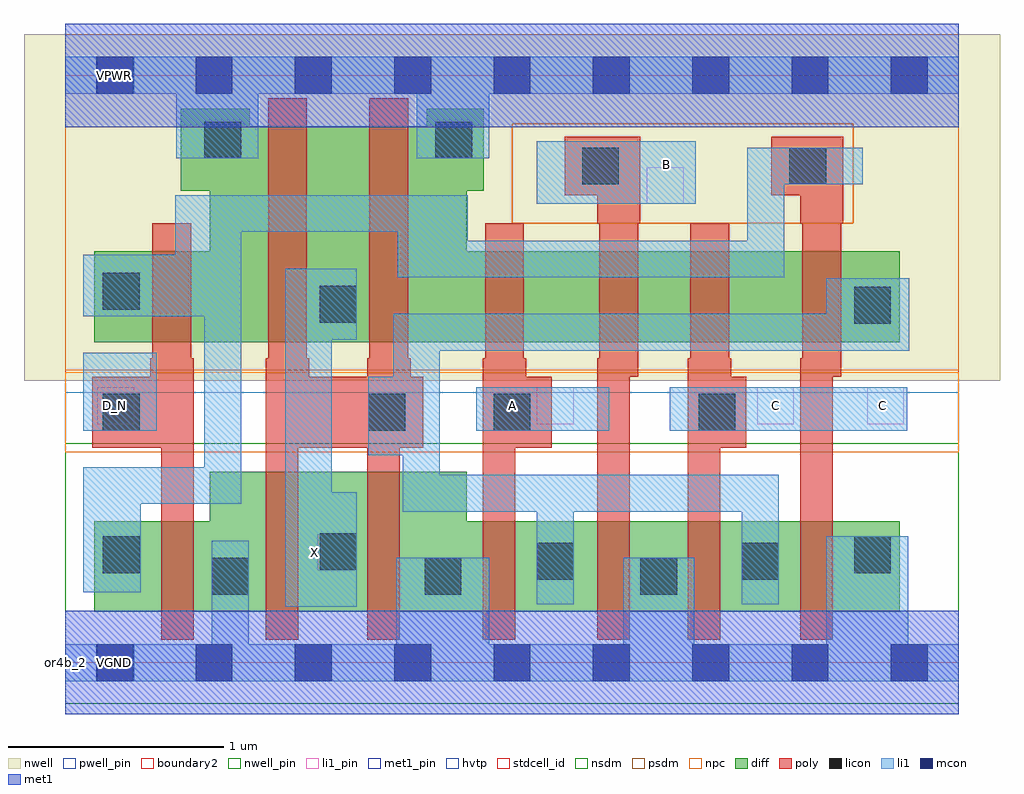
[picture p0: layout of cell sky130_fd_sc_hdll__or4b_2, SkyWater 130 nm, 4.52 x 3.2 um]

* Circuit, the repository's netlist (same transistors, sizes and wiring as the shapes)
* Copyright 2020 The SkyWater PDK Authors
*
* Licensed under the Apache License, Version 2.0 (the "License");
* you may not use this file except in compliance with the License.
* You may obtain a copy of the License at
*
*     https://www.apache.org/licenses/LICENSE-2.0
*
* Unless required by applicable law or agreed to in writing, software
* distributed under the License is distributed on an "AS IS" BASIS,
* WITHOUT WARRANTIES OR CONDITIONS OF ANY KIND, either express or implied.
* See the License for the specific language governing permissions and
* limitations under the License.
*
* SPDX-License-Identifier: Apache-2.0

.SUBCKT sky130_fd_sc_hdll__or4b_2 A B C D_N VGND VNB VPB VPWR X
*.PININFO A:I B:I C:I D_N:I VGND:I VNB:I VPB:I VPWR:I X:O
MMP0 VPWR A sndPA VPB sky130_fd_pr__pfet_01v8_hvt m=1 w=0.42U l=0.18U mult=1 sa=0.265
+ sb=0.265 sd=0.28 area=0.063 perim=1.14
MMP1 sndPA B sndPB VPB sky130_fd_pr__pfet_01v8_hvt m=1 w=0.42U l=0.18U mult=1 sa=0.265
+ sb=0.265 sd=0.28 area=0.063 perim=1.14
MMP2 sndPB C sndPC VPB sky130_fd_pr__pfet_01v8_hvt m=1 w=0.42U l=0.18U mult=1 sa=0.265
+ sb=0.265 sd=0.28 area=0.063 perim=1.14
MMP3 sndPC D y VPB sky130_fd_pr__pfet_01v8_hvt m=1 w=0.42U l=0.18U mult=1 sa=0.265
+ sb=0.265 sd=0.28 area=0.063 perim=1.14
MMIP3 D D_N VPWR VPB sky130_fd_pr__pfet_01v8_hvt m=1 w=0.42U l=0.18U mult=1 sa=0.265
+ sb=0.265 sd=0.28 area=0.063 perim=1.14
MMIP4 X y VPWR VPB sky130_fd_pr__pfet_01v8_hvt m=2 w=1.0U l=0.18U mult=1 sa=0.265
+ sb=0.265 sd=0.28 area=0.063 perim=1.14
MMN0 y A VGND VNB sky130_fd_pr__nfet_01v8 m=1 w=0.42U l=0.15U mult=1 sa=0.265 sb=0.265
+ sd=0.28 area=0.063 perim=1.14
MMN1 y B VGND VNB sky130_fd_pr__nfet_01v8 m=1 w=0.42U l=0.15U mult=1 sa=0.265 sb=0.265
+ sd=0.28 area=0.063 perim=1.14
MMN2 y C VGND VNB sky130_fd_pr__nfet_01v8 m=1 w=0.42U l=0.15U mult=1 sa=0.265 sb=0.265
+ sd=0.28 area=0.063 perim=1.14
MMN3 y D VGND VNB sky130_fd_pr__nfet_01v8 m=1 w=0.42U l=0.15U mult=1 sa=0.265 sb=0.265
+ sd=0.28 area=0.063 perim=1.14
MMIN3 D D_N VGND VNB sky130_fd_pr__nfet_01v8 m=1 w=0.42U l=0.15U mult=1 sa=0.265
+ sb=0.265 sd=0.28 area=0.063 perim=1.14
MMIN4 X y VGND VNB sky130_fd_pr__nfet_01v8 m=2 w=0.65U l=0.15U mult=1 sa=0.265
+ sb=0.265 sd=0.28 area=0.063 perim=1.14
.ENDS sky130_fd_sc_hdll__or4b_2

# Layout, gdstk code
import gdstk
lib = gdstk.Library(unit=1e-6, precision=1e-09)
def R(c, l, rs):  # rectangles x0, y0, x1, y1
    for r in rs: c.add(gdstk.rectangle(r[:2], r[2:], *l))
def A(c, l, x, y, w, h, nx, ny, dx, dy):  # array of equal rectangles
    R(c, l, [(x+i*dx, y+j*dy, x+i*dx+w, y+j*dy+h) for i in range(nx) for j in range(ny)])
def P(c, l, *ps):  # polygons
    for p in ps: c.add(gdstk.Polygon(p, *l))
nwell_pin = (64, 16)
nwell = (64, 20)
diff = (65, 20)
poly = (66, 20)
licon = (66, 44)
li1_pin = (67, 16)
li1 = (67, 20)
mcon = (67, 44)
met1_pin = (68, 16)
met1 = (68, 20)
hvtp = (78, 44)
stdcell_id = (81, 4)
nsdm = (93, 44)
psdm = (94, 20)
npc = (95, 20)
pwell_pin = (122, 16)
boundary2 = (236, 0)

sky130_fd_sc_hdll__or4b_ = lib.new_cell('sky130_fd_sc_hdll__or4b_2')
R(sky130_fd_sc_hdll__or4b_, nwell_pin, [(0.15,2.635,0.32,2.805)])
R(sky130_fd_sc_hdll__or4b_, nwell, [(-0.19,1.305,4.33,2.91)])
P(sky130_fd_sc_hdll__or4b_, diff, [(3.865,0.655),(1.86,0.655),(1.86,0.885),(0.67,0.885),(0.67,0.655),(0.135,0.655),(0.135,0.235),(3.865,0.235)],
  [(3.865,1.905),(1.86,1.905),(1.86,2.185),(1.94,2.185),(1.94,2.565),(1.675,2.565),(1.675,2.485),(0.855,2.485),(0.855,2.565),(0.535,2.565),(0.535,2.185),(0.67,2.185),(0.67,1.905),(0.135,1.905),(0.135,1.485),(3.865,1.485)])
P(sky130_fd_sc_hdll__or4b_, poly, [(0.595,1.41),(0.585,1.41),(0.585,2.035),(0.405,2.035),(0.405,1.41),(0.395,1.41),(0.395,1.325),(0.125,1.325),(0.125,0.995),(0.445,0.995),(0.445,0.105),(0.595,0.105)],
  [(1.66,1.325),(1.6,1.325),(1.6,1.41),(1.59,1.41),(1.59,2.615),(1.41,2.615),(1.41,1.41),(1.4,1.41),(1.4,1.325),(1.13,1.325),(1.13,1.41),(1.12,1.41),(1.12,2.615),(0.94,2.615),(0.94,1.41),(0.93,1.41),(0.93,0.105),(1.08,0.105),(1.08,0.995),(1.4,0.995),(1.4,0.105),(1.55,0.105),(1.55,0.995),(1.66,0.995)],
  [(2.255,1.325),(2.135,1.325),(2.135,1.41),(2.125,1.41),(2.125,2.035),(1.945,2.035),(1.945,1.41),(1.935,1.41),(1.935,0.105),(2.085,0.105),(2.085,0.995),(2.255,0.995)],
  [(2.665,2.435),(2.315,2.435),(2.315,2.165),(2.465,2.165),(2.465,2.035),(2.475,2.035),(2.475,1.41),(2.465,1.41),(2.465,0.105),(2.615,0.105),(2.615,1.325),(2.655,1.325),(2.655,2.035),(2.665,2.035)],
  [(3.155,1.325),(3.085,1.325),(3.085,1.41),(3.075,1.41),(3.075,2.035),(2.895,2.035),(2.895,1.41),(2.885,1.41),(2.885,0.105),(3.035,0.105),(3.035,0.995),(3.155,0.995)],
  [(3.605,2.435),(3.27,2.435),(3.27,2.165),(3.405,2.165),(3.405,2.035),(3.415,2.035),(3.415,1.41),(3.405,1.41),(3.405,0.105),(3.555,0.105),(3.555,1.325),(3.595,1.325),(3.595,2.035),(3.605,2.035)])
R(sky130_fd_sc_hdll__or4b_, licon, [(0.68,0.315,0.85,0.485), (1.665,0.315,1.835,0.485), (2.665,0.315,2.835,0.485), (2.185,0.385,2.355,0.555), (3.135,0.385,3.305,0.555), (0.175,0.415,0.345,0.585), (3.655,0.415,3.825,0.585), (1.18,0.43,1.35,0.6), (0.175,1.075,0.345,1.245), (1.405,1.075,1.575,1.245), (1.985,1.075,2.155,1.245), (2.935,1.075,3.105,1.245), (3.655,1.57,3.825,1.74), (1.18,1.575,1.35,1.745), (0.175,1.635,0.345,1.805), (2.395,2.215,2.565,2.385), (3.355,2.215,3.525,2.385), (0.645,2.335,0.815,2.505), (1.715,2.335,1.885,2.505)])
R(sky130_fd_sc_hdll__or4b_, li1_pin, [(1.17,0.425,1.34,0.595), (0.15,1.105,0.32,1.275), (2.185,1.105,2.355,1.275), (3.205,1.105,3.375,1.275), (3.715,1.105,3.885,1.275), (2.695,2.125,2.865,2.295)])
R(sky130_fd_sc_hdll__or4b_, li1, [(0.085,1.075,0.425,1.435), (1.905,1.075,2.52,1.275), (2.8,1.075,3.9,1.275), (2.185,2.125,2.92,2.415)])
P(sky130_fd_sc_hdll__or4b_, li1, [(3.91,1.78),(3.525,1.78),(3.525,1.615),(1.52,1.615),(1.52,1.325),(1.405,1.325),(1.405,0.96),(1.565,0.96),(1.565,0.7),(2.185,0.7),(2.185,0.27),(2.355,0.27),(2.355,0.7),(3.135,0.7),(3.135,0.27),(3.305,0.27),(3.305,0.87),(1.735,0.87),(1.735,1.445),(3.91,1.445)],
  [(4.14,0.085),(3.905,0.085),(3.905,0.585),(3.525,0.585),(3.525,0.085),(2.915,0.085),(2.915,0.485),(2.585,0.485),(2.585,0.085),(1.965,0.085),(1.965,0.485),(1.535,0.485),(1.535,0.085),(0.85,0.085),(0.85,0.565),(0.68,0.565),(0.68,0.085),(0,0.085),(0,-0.085),(4.14,-0.085)],
  [(4.14,2.805),(0,2.805),(0,2.635),(0.515,2.635),(0.515,2.335),(0.895,2.335),(0.895,2.635),(1.63,2.635),(1.63,2.335),(1.965,2.335),(1.965,2.635),(4.14,2.635)],
  [(3.695,2.385),(3.16,2.385),(3.16,1.955),(1.865,1.955),(1.865,2.165),(0.51,2.165),(0.51,1.89),(0.085,1.89),(0.085,1.605),(0.645,1.605),(0.645,0.905),(0.085,0.905),(0.085,0.325),(0.35,0.325),(0.35,0.735),(0.815,0.735),(0.815,1.995),(1.54,1.995),(1.54,1.785),(3.33,1.785),(3.33,2.215),(3.695,2.215)],
  [(1.35,0.79),(1.235,0.79),(1.235,1.495),(1.35,1.495),(1.35,1.825),(1.02,1.825),(1.02,0.26),(1.35,0.26)])
A(sky130_fd_sc_hdll__or4b_, mcon, 0.145, -0.085, 0.17, 0.17, 9, 2, 0.46, 2.72)
R(sky130_fd_sc_hdll__or4b_, met1_pin, [(0.15,-0.085,0.32,0.085), (0.15,2.635,0.32,2.805)])
R(sky130_fd_sc_hdll__or4b_, met1, [(0,-0.24,4.14,0.24), (0,2.48,4.14,2.96)])
R(sky130_fd_sc_hdll__or4b_, hvtp, [(0,1.25,4.14,2.72)])
R(sky130_fd_sc_hdll__or4b_, stdcell_id, [(0,0,4.14,2.72)])
R(sky130_fd_sc_hdll__or4b_, nsdm, [(0,-0.19,4.14,1.015)])
P(sky130_fd_sc_hdll__or4b_, psdm, [(4.14,2.91),(3.65,2.91),(3.65,2.035),(2.07,2.035),(2.07,2.495),(3.65,2.495),(3.65,2.91),(0,2.91),(0,1.355),(4.14,1.355)])
R(sky130_fd_sc_hdll__or4b_, npc, [(0,0.975,4.14,1.345), (2.07,2.035,3.65,2.495)])
R(sky130_fd_sc_hdll__or4b_, pwell_pin, [(0.15,-0.085,0.32,0.085)])
R(sky130_fd_sc_hdll__or4b_, boundary2, [(0,0,4.14,2.72)])
sky130_fd_sc_hdll__or4b_.add(gdstk.Label('C', (3.785,1.19), layer=67, texttype=5))
sky130_fd_sc_hdll__or4b_.add(gdstk.Label('A', (2.07,1.19), layer=67, texttype=5))
sky130_fd_sc_hdll__or4b_.add(gdstk.Label('X', (1.155,0.51), layer=67, texttype=5))
sky130_fd_sc_hdll__or4b_.add(gdstk.Label('C', (3.29,1.19), layer=67, texttype=5))
sky130_fd_sc_hdll__or4b_.add(gdstk.Label('B', (2.785,2.305), layer=67, texttype=5))
sky130_fd_sc_hdll__or4b_.add(gdstk.Label('D_N', (0.23,1.19), layer=67, texttype=5))
sky130_fd_sc_hdll__or4b_.add(gdstk.Label('VPWR', (0.23,2.72), layer=68, texttype=5))
sky130_fd_sc_hdll__or4b_.add(gdstk.Label('VGND', (0.23,0), layer=68, texttype=5))
sky130_fd_sc_hdll__or4b_.add(gdstk.Label('VPB', (0.23,2.72), layer=64, texttype=5))
sky130_fd_sc_hdll__or4b_.add(gdstk.Label('VNB', (0.23,0), layer=64, texttype=59))
sky130_fd_sc_hdll__or4b_.add(gdstk.Label('or4b_2', (0,0), layer=83, texttype=44))

lib.write_gds('sky130_fd_sc_hdll__or4b_2.gds')
